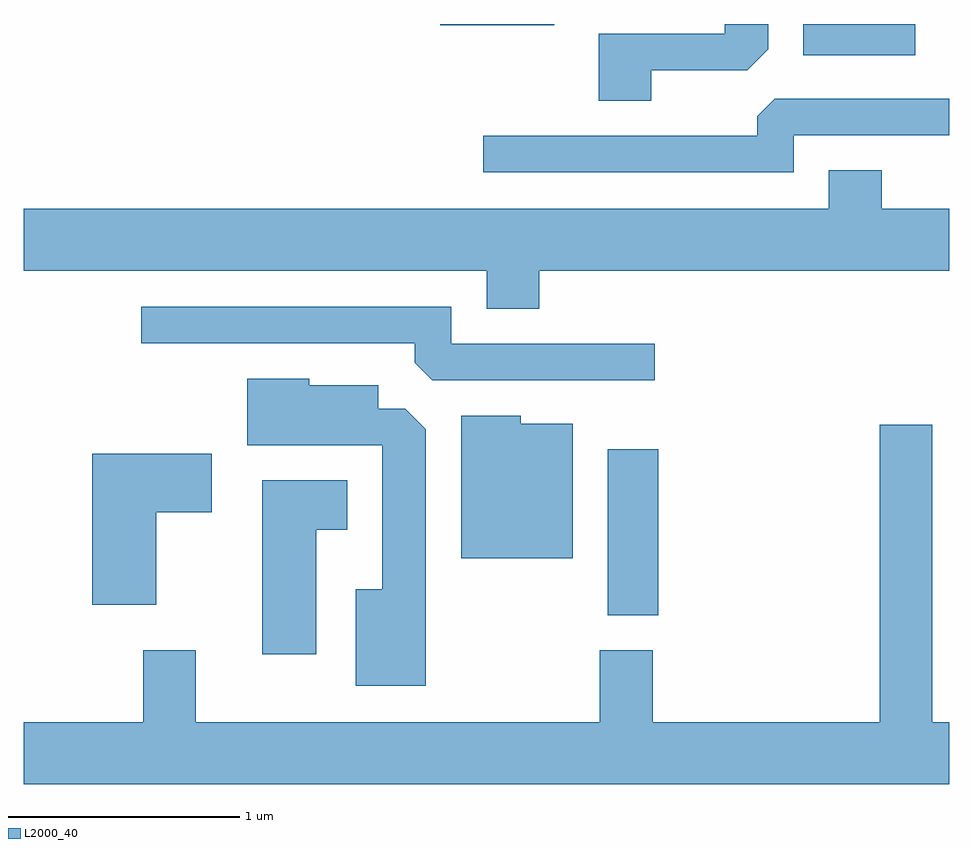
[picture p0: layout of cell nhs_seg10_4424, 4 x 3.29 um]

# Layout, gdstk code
import gdstk
lib = gdstk.Library(unit=1e-6, precision=1e-09)
def R(c, l, rs):  # rectangles x0, y0, x1, y1
    for r in rs: c.add(gdstk.rectangle(r[:2], r[2:], *l))
def P(c, l, *ps):  # polygons
    for p in ps: c.add(gdstk.Polygon(p, *l))
L2000_40 = (2000, 40)

nhs_seg10_4424 = lib.new_cell('nhs_seg10_4424')
R(nhs_seg10_4424, L2000_40, [(318.136,2127.966,318.354,2128.684), (318.981,2130.386,319.464,2130.522), (317.411,2130.516,317.904,2130.522)])
P(nhs_seg10_4424, L2000_40, [(318.324,2130.321),(318.739,2130.321),(318.829,2130.412),(318.829,2130.522),(318.641,2130.522),(318.641,2130.479),(318.096,2130.479),(318.096,2130.191),(318.324,2130.191)],
  [(318.939,2130.041),(319.611,2130.041),(319.611,2130.199),(318.857,2130.199),(318.781,2130.124),(318.781,2130.039),(317.598,2130.039),(317.598,2129.881),(318.939,2129.881)],
  [(317.839,2129.456),(319.611,2129.456),(319.611,2129.724),(319.319,2129.724),(319.319,2129.889),(319.091,2129.889),(319.091,2129.724),(315.611,2129.724),(315.611,2129.456),(317.611,2129.456),(317.611,2129.291),(317.839,2129.291)],
  [(318.338,2129.139),(317.459,2129.139),(317.459,2129.299),(316.118,2129.299),(316.118,2129.141),(317.301,2129.141),(317.301,2129.057),(317.377,2128.981),(318.338,2128.981)],
  [(317.349,2128.769),(317.259,2128.859),(317.144,2128.859),(317.144,2128.959),(316.844,2128.959),(316.844,2128.989),(316.576,2128.989),(316.576,2128.701),(317.161,2128.701),(317.161,2128.079),(317.046,2128.079),(317.046,2127.661),(317.349,2127.661)],
  [(317.984,2128.794),(317.759,2128.794),(317.759,2128.829),(317.501,2128.829),(317.501,2128.211),(317.984,2128.211)],
  [(319.611,2127.504),(319.539,2127.504),(319.539,2128.789),(319.311,2128.789),(319.311,2127.504),(318.329,2127.504),(318.329,2127.814),(318.101,2127.814),(318.101,2127.504),(316.354,2127.504),(316.354,2127.814),(316.126,2127.814),(316.126,2127.504),(315.611,2127.504),(315.611,2127.236),(319.611,2127.236)],
  [(316.184,2128.411),(316.424,2128.411),(316.424,2128.664),(315.906,2128.664),(315.906,2128.011),(316.184,2128.011)],
  [(316.874,2128.336),(317.009,2128.336),(317.009,2128.549),(316.641,2128.549),(316.641,2127.796),(316.874,2127.796)])

lib.write_gds('nhs_seg10_4424.gds')
